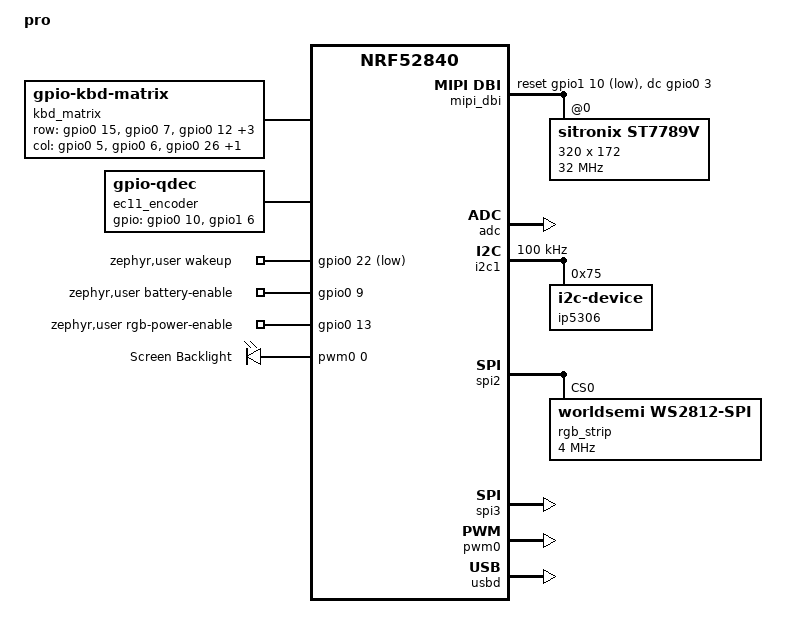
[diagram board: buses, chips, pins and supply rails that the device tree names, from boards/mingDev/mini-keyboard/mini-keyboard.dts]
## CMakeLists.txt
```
cmake_minimum_required(VERSION 3.20.0)
find_package(Zephyr REQUIRED HINTS $ENV{ZEPHYR_BASE})

project(PRO_Ble_mini_keyboard)

if(NOT c_std_11 IN_LIST CMAKE_C_COMPILE_FEATURES)
	list(APPEND CMAKE_C_COMPILE_FEATURES c_std_11)
endif()

list(APPEND CMAKE_MODULE_PATH ${ZEPHYR_BASE}/modules/nanopb)
include(nanopb)

target_include_directories(app PRIVATE include)

zephyr_nanopb_sources(app proto/device_comm.proto)

target_sources(app PRIVATE
	src/config/app_config.c
	src/config/app_config_store.c
	src/display/status_screen.c
	src/host/host_frame.c
	src/host/host_protocol.c
	src/host/host_comm.c
	src/main.c
	src/display/status_screen_input.c
	src/display/status_screen_model.c
	src/hid/hid_consumer.c
	src/hid/hid_flowctrl.c
	src/hid/hid_report.c
	src/input/encoder_action.c
	src/input/encoder_manager.c
	src/input/input_manager.c
	src/keymap/keymap.c
	src/keyboard/keyboard_led_state.c
	src/mode/mode_manager.c
	src/mode/mode_selector.c
	src/power/battery_monitor.c
	src/power/ip5306.c
	src/power/power_manager.c
	src/power/power_policy.c
	src/power/power_state.c
	src/rgb/rgb_effect.c
	src/rgb/rgb_hw.c
	src/rgb/rgb_keymap.c
	src/rgb/rgb_manager.c
	src/rgb/rgb_policy.c
	src/transport/transport.c
	src/transport/transport_24g_stub.c
	src/transport/ble_bas_adapter.c
	src/transport/transport_ble.c
	src/transport/transport_ble_security.c
	src/transport/transport_usb.c
)

target_sources_ifdef(CONFIG_LVGL app PRIVATE
	src/display/status_screen_lvgl.c
)
```

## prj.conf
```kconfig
CONFIG_GPIO=y
CONFIG_I2C=y
CONFIG_SPI=y
CONFIG_LED_STRIP=y
CONFIG_WS2812_STRIP_SPI=y
CONFIG_PWM=y
CONFIG_LED=y
CONFIG_LED_PWM=y
CONFIG_DISPLAY=y
CONFIG_MIPI_DBI=y
CONFIG_LVGL=y
CONFIG_LV_COLOR_DEPTH_16=y
CONFIG_LV_COLOR_16_SWAP=y
CONFIG_LV_Z_MEM_POOL_SIZE=49152
CONFIG_LV_Z_VDB_SIZE=10
CONFIG_INPUT=y
CONFIG_INPUT_GPIO_KBD_MATRIX=y
CONFIG_INPUT_GPIO_QDEC=y
CONFIG_INPUT_KEYMAP=y
CONFIG_NANOPB=y

CONFIG_ADC=y
CONFIG_LOG=y
CONFIG_MAIN_STACK_SIZE=4096
CONFIG_SYSTEM_WORKQUEUE_STACK_SIZE=2048

CONFIG_USB_DEVICE_STACK_NEXT=y
CONFIG_SERIAL=y
CONFIG_UART_INTERRUPT_DRIVEN=y
CONFIG_UART_LINE_CTRL=y
CONFIG_USBD_CDC_ACM_CLASS=y
CONFIG_CDC_ACM_SERIAL_INITIALIZE_AT_BOOT=n
CONFIG_USBD_HID_SUPPORT=y
CONFIG_USBD_LOG_LEVEL_WRN=y
CONFIG_USBD_HID_LOG_LEVEL_WRN=y
CONFIG_USBD_CDC_ACM_LOG_LEVEL_OFF=y
CONFIG_UDC_DRIVER_LOG_LEVEL_WRN=y
CONFIG_UDC_BUF_POOL_SIZE=8192

CONFIG_BT=y
CONFIG_BT_PERIPHERAL=y
CONFIG_BT_DEVICE_NAME="PRO_Ble_mini_keyboard"
CONFIG_BT_DEVICE_APPEARANCE=961
CONFIG_BT_MAX_CONN=1
CONFIG_BT_MAX_PAIRED=1
CONFIG_BT_SMP=y
CONFIG_BT_HIDS=y
CONFIG_BT_HIDS_MAX_CLIENT_COUNT=1
CONFIG_BT_HIDS_INPUT_REP_MAX=2
CONFIG_BT_HIDS_OUTPUT_REP_MAX=1
CONFIG_BT_HIDS_DEFAULT_PERM_RW_ENCRYPT=y
CONFIG_BT_BAS=y
CONFIG_BT_DIS=y
CONFIG_BT_DIS_MODEL_NUMBER_STR="PRO BLE Mini Keyboard"
CONFIG_BT_DIS_MANUF_NAME_STR="mingDev"
CONFIG_BT_DIS_PNP=y
CONFIG_BT_DIS_PNP_VID_SRC=2
CONFIG_BT_DIS_PNP_VID=0x1915
CONFIG_BT_DIS_PNP_PID=0x52F0
CONFIG_BT_DIS_PNP_VER=0x0100
CONFIG_BT_DIS_FW_REV=y
CONFIG_BT_DIS_FW_REV_STR="0.1.0"
CONFIG_BT_DIS_HW_REV=y
CONFIG_BT_DIS_HW_REV_STR="revA"
CONFIG_BT_SETTINGS=y
CONFIG_BT_GATT_AUTO_SEC_REQ=n
CONFIG_BT_AUTO_PHY_UPDATE=n
CONFIG_BT_GATT_UUID16_POOL_SIZE=40
CONFIG_BT_GATT_CHRC_POOL_SIZE=20
CONFIG_BT_CONN_CTX=y

CONFIG_SETTINGS=y
CONFIG_FLASH=y
CONFIG_FLASH_PAGE_LAYOUT=y
CONFIG_FLASH_MAP=y
CONFIG_NVS=y
CONFIG_BT_SMP_SC_PAIR_ONLY=n
CONFIG_BT_SMP_ENFORCE_MITM=n
CONFIG_BT_SECURITY_ERR_TO_STR=y
CONFIG_BT_KEYS_OVERWRITE_OLDEST=y
```

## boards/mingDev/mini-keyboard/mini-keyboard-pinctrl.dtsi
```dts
#include <zephyr/dt-bindings/pinctrl/nrf-pinctrl.h>

&pinctrl {
	i2c1_default: i2c1_default {
		group1 {
			psels = <NRF_PSEL(TWIM_SCL, 0, 24)>,
				<NRF_PSEL(TWIM_SDA, 1, 0)>;
		};
	};

	i2c1_sleep: i2c1_sleep {
		group1 {
			psels = <NRF_PSEL(TWIM_SCL, 0, 24)>,
				<NRF_PSEL(TWIM_SDA, 1, 0)>;
			low-power-enable;
		};
	};

	spi2_default: spi2_default {
		group1 {
			psels = <NRF_PSEL(SPIM_SCK, 1, 4)>,
				<NRF_PSEL(SPIM_MOSI, 0, 20)>;
		};
	};

	spi2_sleep: spi2_sleep {
		group1 {
			psels = <NRF_PSEL(SPIM_SCK, 1, 4)>,
				<NRF_PSEL(SPIM_MOSI, 0, 20)>;
			low-power-enable;
		};
	};

	spi3_default: spi3_default {
		group1 {
			psels = <NRF_PSEL(SPIM_SCK, 1, 13)>,
				<NRF_PSEL(SPIM_MOSI, 0, 28)>;
		};
	};

	spi3_sleep: spi3_sleep {
		group1 {
			psels = <NRF_PSEL(SPIM_SCK, 1, 13)>,
				<NRF_PSEL(SPIM_MOSI, 0, 28)>;
			low-power-enable;
		};
	};

	pwm0_default: pwm0_default {
		group1 {
			psels = <NRF_PSEL(PWM_OUT0, 1, 11)>;
		};
	};

	pwm0_sleep: pwm0_sleep {
		group1 {
			psels = <NRF_PSEL(PWM_OUT0, 1, 11)>;
			low-power-enable;
		};
	};
};
```

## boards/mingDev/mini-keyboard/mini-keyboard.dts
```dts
/dts-v1/;
#include <nordic/nrf52840_qiaa.dtsi>
#include <zephyr/dt-bindings/gpio/gpio.h>
#include <zephyr/dt-bindings/i2c/i2c.h>
#include <zephyr/dt-bindings/input/input-event-codes.h>
#include <zephyr/dt-bindings/input/keymap.h>
#include <zephyr/dt-bindings/led/led.h>
#include <zephyr/dt-bindings/mipi_dbi/mipi_dbi.h>
#include <zephyr/dt-bindings/pwm/pwm.h>
#include "mini-keyboard-pinctrl.dtsi"

/ {
	model = "pro";
	compatible = "mingdev,mini-keyboard";

	chosen {
		zephyr,sram = &sram0;
		zephyr,flash = &flash0;
		zephyr,code-partition = &slot0_partition;
		zephyr,led-strip = &rgb_strip;
		zephyr,display = &st7789v;
	};

	aliases {
		led-strip = &rgb_strip;
		pwm-led0 = &screen_backlight;
	};

	kbd_matrix: kbd-matrix {
		compatible = "gpio-kbd-matrix";
		status = "okay";

		row-gpios = <&gpio0 15 (GPIO_PULL_DOWN | GPIO_ACTIVE_HIGH)>,
			    <&gpio0 7  (GPIO_PULL_DOWN | GPIO_ACTIVE_HIGH)>,
			    <&gpio0 12 (GPIO_PULL_DOWN | GPIO_ACTIVE_HIGH)>,
			    <&gpio0 4  (GPIO_PULL_DOWN | GPIO_ACTIVE_HIGH)>,
			    <&gpio1 9  (GPIO_PULL_DOWN | GPIO_ACTIVE_HIGH)>,
			    <&gpio0 8  (GPIO_PULL_DOWN | GPIO_ACTIVE_HIGH)>;

		col-gpios = <&gpio0 5 GPIO_ACTIVE_HIGH>,
			    <&gpio0 6 GPIO_ACTIVE_HIGH>,
			    <&gpio0 26 GPIO_ACTIVE_HIGH>,
			    <&gpio0 30 GPIO_ACTIVE_HIGH>;

		actual-key-mask = <0x3e 0x3e 0x1e 0x2b>;
		no-ghostkey-check;

		keymap {
			compatible = "input-keymap";
			keymap = <
				MATRIX_KEY(0, 3, INPUT_KEY_MUTE)

				MATRIX_KEY(1, 0, INPUT_KEY_NUMLOCK)
				MATRIX_KEY(1, 1, INPUT_KEY_KPSLASH)
				MATRIX_KEY(1, 2, INPUT_KEY_KPASTERISK)
				MATRIX_KEY(1, 3, INPUT_KEY_KPMINUS)

				MATRIX_KEY(2, 0, INPUT_KEY_KP7)
				MATRIX_KEY(2, 1, INPUT_KEY_KP8)
				MATRIX_KEY(2, 2, INPUT_KEY_KP9)

				MATRIX_KEY(3, 0, INPUT_KEY_KP4)
				MATRIX_KEY(3, 1, INPUT_KEY_KP5)
				MATRIX_KEY(3, 2, INPUT_KEY_KP6)
				MATRIX_KEY(3, 3, INPUT_KEY_KPPLUS)

				MATRIX_KEY(4, 0, INPUT_KEY_KP1)
				MATRIX_KEY(4, 1, INPUT_KEY_KP2)
				MATRIX_KEY(4, 2, INPUT_KEY_KP3)

				MATRIX_KEY(5, 0, INPUT_KEY_KP0)
				MATRIX_KEY(5, 1, INPUT_KEY_KPDOT)
				MATRIX_KEY(5, 3, INPUT_KEY_KPENTER)
			>;
			row-size = <6>;
			col-size = <4>;
		};
	};

	hid_dev_0: hid_dev_0 {
		compatible = "zephyr,hid-device";
		label = "HID0";
		protocol-code = "keyboard";
		in-report-size = <9>;
		in-polling-period-us = <1000>;
	};

	ec11_encoder: ec11-encoder {
		compatible = "gpio-qdec";
		status = "okay";
		gpios = <&gpio0 10 (GPIO_PULL_UP | GPIO_ACTIVE_HIGH)>,
			<&gpio1 6 (GPIO_PULL_UP | GPIO_ACTIVE_HIGH)>;
		steps-per-period = <2>;
		zephyr,axis = <INPUT_REL_WHEEL>;
		sample-time-us = <2000>;
		idle-poll-time-us = <2000>;
		idle-timeout-ms = <200>;
	};

	zephyr,user {
		wakeup-gpios = <&gpio0 22 GPIO_ACTIVE_LOW>;
		battery-enable-gpios = <&gpio0 9 GPIO_ACTIVE_HIGH>;
		rgb-power-enable-gpios = <&gpio0 13 GPIO_ACTIVE_HIGH>;
	};

	pwmleds {
		compatible = "pwm-leds";

		screen_backlight: screen-backlight {
			pwms = <&pwm0 0 PWM_MSEC(10) PWM_POLARITY_INVERTED>;
			label = "Screen Backlight";
		};
	};

	mipi_dbi {
		compatible = "zephyr,mipi-dbi-spi";
		spi-dev = <&spi3>;
		dc-gpios = <&gpio0 3 GPIO_ACTIVE_HIGH>;
		reset-gpios = <&gpio1 10 GPIO_ACTIVE_LOW>;
		write-only;
		#address-cells = <1>;
		#size-cells = <0>;

		st7789v: st7789v@0 {
			compatible = "sitronix,st7789v";
			reg = <0>;
			mipi-max-frequency = <32000000>;
			width = <320>;
			height = <172>;
			x-offset = <0>;
			y-offset = <34>;
			ready-time-ms = <120>;
			vcom = <0x19>;
			gctrl = <0x35>;
			vrhs = <0x12>;
			vdvs = <0x20>;
			mdac = <0xa0>;
			gamma = <0x01>;
			colmod = <0x05>;
			lcm = <0x2c>;
			porch-param = [0c 0c 00 33 33];
			cmd2en-param = [5a 69 02 01];
			pwctrl1-param = [a4 a1];
			pvgam-param = [D0 04 0D 11 13 2B 3F 54 4C 18 0D 0B 1F 23];
			nvgam-param = [D0 04 0C 11 13 2C 3F 44 51 2F 1F 1F 20 23];
			ram-param = [00 F0];
			rgb-param = [CD 08 14];
			mipi-mode = "MIPI_DBI_MODE_SPI_4WIRE";
		};
	};
};

&adc {
	status = "okay";
};

&i2c1 {
	compatible = "nordic,nrf-twim";
	status = "okay";
	pinctrl-0 = <&i2c1_default>;
	pinctrl-1 = <&i2c1_sleep>;
	pinctrl-names = "default", "sleep";
	clock-frequency = <I2C_BITRATE_STANDARD>;

	ip5306: ip5306@75 {
		compatible = "i2c-device";
		reg = <0x75>;
	};
};

&spi2 {
	compatible = "nordic,nrf-spim";
	status = "okay";
	pinctrl-0 = <&spi2_default>;
	pinctrl-1 = <&spi2_sleep>;
	pinctrl-names = "default", "sleep";

	rgb_strip: ws2812@0 {
		compatible = "worldsemi,ws2812-spi";
		reg = <0>;
		spi-max-frequency = <4000000>;
		chain-length = <17>;
		color-mapping = <LED_COLOR_ID_GREEN
				 LED_COLOR_ID_RED
				 LED_COLOR_ID_BLUE>;
		spi-one-frame = <0x70>;
		spi-zero-frame = <0x40>;
		bits-per-symbol = <8>;
	};
};

&spi3 {
	compatible = "nordic,nrf-spim";
	status = "okay";
	cs-gpios = <&gpio0 2 GPIO_ACTIVE_LOW>;
	pinctrl-0 = <&spi3_default>;
	pinctrl-1 = <&spi3_sleep>;
	pinctrl-names = "default", "sleep";
};

&pwm0 {
	status = "okay";
	pinctrl-0 = <&pwm0_default>;
	pinctrl-1 = <&pwm0_sleep>;
	pinctrl-names = "default", "sleep";
};

&uicr {
	nfct-pins-as-gpios;
	gpio-as-nreset;
};

&gpio0 {
	status = "okay";
};

&gpio1 {
	status = "okay";
};

&gpiote {
	status = "okay";
};

zephyr_udc0: &usbd {
	compatible = "nordic,nrf-usbd";
	status = "okay";

	cdc_acm_uart0: cdc_acm_uart0 {
		compatible = "zephyr,cdc-acm-uart";
		label = "PRO Config CDC ACM";
	};
};

&flash0 {
	partitions {
		compatible = "fixed-partitions";
		#address-cells = <1>;
		#size-cells = <1>;

		boot_partition: partition@0 {
			label = "mcuboot";
			reg = <0x00000000 DT_SIZE_K(48)>;
		};

		slot0_partition: partition@c000 {
			label = "image-0";
			reg = <0x0000c000 DT_SIZE_K(472)>;
		};

		slot1_partition: partition@82000 {
			label = "image-1";
			reg = <0x00082000 DT_SIZE_K(472)>;
		};

		storage_partition: partition@f8000 {
			label = "storage";
			reg = <0x000f8000 DT_SIZE_K(32)>;
		};
	};
};
```

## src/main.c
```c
#include <zephyr/kernel.h>
#include <zephyr/logging/log.h>

#include <config/app_config.h>
#include <config/app_config_store.h>
#include <display/status_screen.h>
#include <hid/hid_flowctrl.h>
#include <host/host_comm.h>
#include <input/encoder_manager.h>
#include <input/input_manager.h>
#include <mode/mode_manager.h>
#include <power/power_manager.h>
#include <rgb/rgb_manager.h>
#include <transport/transport.h>

LOG_MODULE_REGISTER(app, LOG_LEVEL_INF);

int main(void)
{
        int err = power_manager_init();

        if (err != 0) {
                LOG_ERR("power manager init failed: %d", err);
        }

        err = app_config_init();
        if (err != 0) {
                LOG_ERR("app config init failed: %d", err);
                return 0;
        }

        err = app_config_store_load();
        if (err != 0) {
                LOG_WRN("app config load failed: %d", err);
        }

        err = transport_init();
        if (err != 0) {
                LOG_ERR("transport init failed: %d", err);
                return 0;
        }

        err = host_comm_init();
        if (err != 0) {
                LOG_WRN("host config channel init failed: %d", err);
        }

        err = hid_flowctrl_init();
        if (err != 0) {
                LOG_ERR("HID flow control init failed: %d", err);
                return 0;
        }

        err = input_manager_init();
        if (err != 0) {
                LOG_ERR("input init failed: %d", err);
                return 0;
        }

        err = encoder_manager_init();
        if (err != 0) {
                LOG_ERR("encoder init failed: %d", err);
                return 0;
        }

        err = rgb_manager_init();
        if (err != 0) {
                LOG_WRN("RGB init failed: %d", err);
        }

        err = mode_manager_init();
        if (err != 0) {
                LOG_ERR("mode manager init failed: %d", err);
                return 0;
        }

        err = status_screen_init();
        if (err != 0) {
                LOG_WRN("status screen init failed: %d", err);
        }

        app_config_notify_all();

        LOG_INF("mini keyboard application started");
        return 0;
}
```
